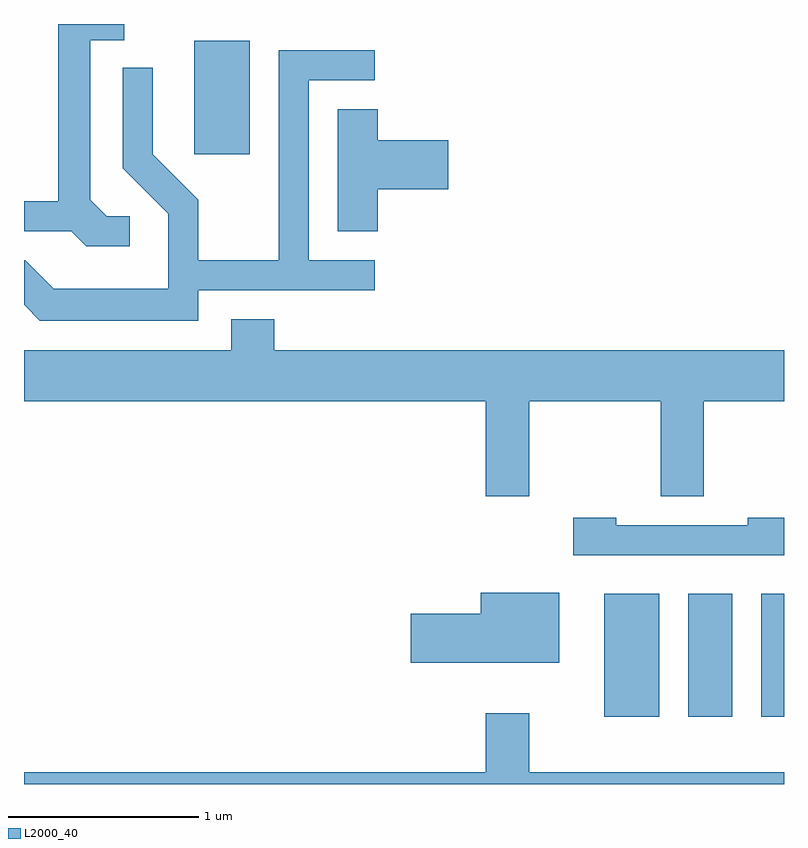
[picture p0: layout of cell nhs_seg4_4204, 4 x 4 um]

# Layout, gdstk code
import gdstk
lib = gdstk.Library(unit=1e-6, precision=1e-09)
def R(c, l, rs):  # rectangles x0, y0, x1, y1
    for r in rs: c.add(gdstk.rectangle(r[:2], r[2:], *l))
def P(c, l, *ps):  # polygons
    for p in ps: c.add(gdstk.Polygon(p, *l))
L2000_40 = (2000, 40)

nhs_seg4_4204 = lib.new_cell('nhs_seg4_4204')
R(nhs_seg4_4204, L2000_40, [(310.666,1366.336,310.954,1366.984), (311.106,1366.336,311.339,1366.984), (311.491,1366.336,311.611,1366.984), (308.506,1369.296,308.799,1369.894)])
P(nhs_seg4_4204, L2000_40, [(308.168,1368.969),(308.047,1368.969),(307.959,1369.057),(307.959,1369.896),(308.138,1369.896),(308.138,1369.982),(307.791,1369.982),(307.791,1369.049),(307.611,1369.049),(307.611,1368.891),(307.859,1368.891),(307.939,1368.811),(308.168,1368.811)],
  [(308.529,1368.581),(309.458,1368.581),(309.458,1368.739),(309.109,1368.739),(309.109,1369.686),(309.458,1369.686),(309.458,1369.844),(308.951,1369.844),(308.951,1368.739),(308.529,1368.739),(308.529,1369.057),(308.289,1369.297),(308.289,1369.753),(308.131,1369.753),(308.131,1369.224),(308.371,1368.984),(308.371,1368.589),(307.767,1368.589),(307.617,1368.739),(307.611,1368.739),(307.611,1368.504),(307.694,1368.421),(308.529,1368.421)],
  [(309.474,1369.111),(309.844,1369.111),(309.844,1369.369),(309.474,1369.369),(309.474,1369.534),(309.261,1369.534),(309.261,1368.891),(309.474,1368.891)],
  [(310.269,1367.996),(310.961,1367.996),(310.961,1367.496),(311.189,1367.496),(311.189,1367.996),(311.611,1367.996),(311.611,1368.264),(308.929,1368.264),(308.929,1368.429),(308.701,1368.429),(308.701,1368.264),(307.611,1368.264),(307.611,1367.996),(310.041,1367.996),(310.041,1367.496),(310.269,1367.496)],
  [(311.611,1367.384),(311.421,1367.384),(311.421,1367.344),(310.729,1367.344),(310.729,1367.384),(310.501,1367.384),(310.501,1367.186),(311.611,1367.186)],
  [(310.429,1366.989),(310.016,1366.989),(310.016,1366.879),(309.646,1366.879),(309.646,1366.621),(310.429,1366.621)],
  [(311.611,1366.044),(310.269,1366.044),(310.269,1366.354),(310.041,1366.354),(310.041,1366.044),(307.611,1366.044),(307.611,1365.982),(311.611,1365.982)])

lib.write_gds('nhs_seg4_4204.gds')
